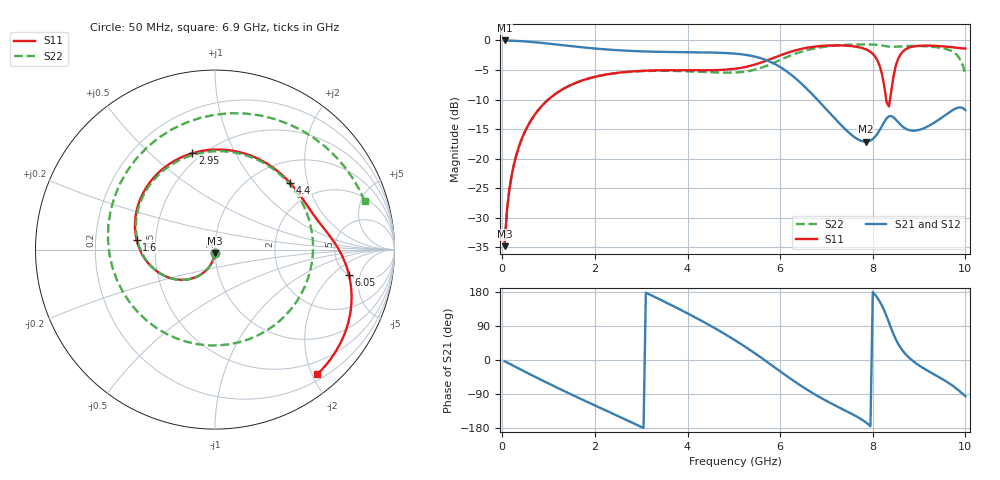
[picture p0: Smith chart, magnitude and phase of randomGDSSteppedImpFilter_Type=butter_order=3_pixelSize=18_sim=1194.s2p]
! freq	dB(S11)	phase(S11)	dB(S12)	phase(S12)
!  dB(S21)	phase(S21)	dB(S22)	phase(S22)
!S-par simulation data
#  GHz  S  DB  R 50
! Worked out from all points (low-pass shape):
!   200 points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, 50 MHz to 10 GHz, reference 50 ohm
!   highest |S21| = -0.01 dB at 50 MHz (marker M1); lowest = -17.1 dB at 7.85 GHz (marker M2)
!   |S21| within 3 dB of the highest: start of sweep to 5.581 GHz
!   lowest |S11| = -34.8 dB at 50 MHz (marker M3), VSWR 1.04, Z = 49.9 - j1.82 ohm
!   |S11| at or under -10 dB: start of sweep to 993.9 MHz; 8.291 GHz to 8.372 GHz (81.33 MHz wide, 0.976 % of centre)
!   |S22| runs from -34.8 to -0.7 dB; largest |S21 - S12| = 0
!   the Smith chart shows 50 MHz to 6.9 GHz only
!   S11 on the Smith chart (normalised r, x): 50 MHz: 1.00, -0.04; 1.6 GHz: 0.39, +0.05; 2.95 GHz: 0.45, +0.69; 4.4 GHz: 1.44, +1.56; 6.05 GHz: 5.01, -3.36; 6.9 GHz: 0.29, -2.08
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0.05  -34.78 -93.2  -0.01 -3.2  -0.01 -3.2  -34.78 -93.1
0.2  -22.91 -103.1  -0.04 -12.8  -0.04 -12.8  -22.91 -103.0
0.45  -16.10 -119.1  -0.15 -28.5  -0.15 -28.5  -16.10 -118.9
1.6  -7.13 172.8  -1.06 -97.2  -1.06 -97.2  -7.13 171.5
1.75  -6.70 164.6  -1.18 -105.8  -1.18 -105.8  -6.71 162.6
2.95  -5.17 103.3  -1.83 -173.7  -1.83 -173.7  -5.21 88.4
3.4  -5.05 82.4  -1.93 159.9  -1.93 159.9  -5.13 57.0
4.4  -5.04 41.7  -2.03 96.9  -2.03 96.9  -5.35 -27.3
5.05  -4.76 21.1  -2.25 50.3  -2.25 50.3  -5.42 -100.2
5.6  -3.71 5.5  -3.05 5.3  -3.05 5.3  -4.60 -177.6
6.05  -2.39 -10.8  -4.74 -34.2  -4.74 -34.2  -3.13 116.6
6.35  -1.64 -24.1  -6.53 -59.9  -6.53 -59.9  -2.19 77.1
6.7  -1.09 -40.8  -9.16 -87.2  -9.16 -87.2  -1.42 37.6
6.9  -0.93 -50.6  -10.82 -101.3  -10.82 -101.3  -1.14 18.1
7.85  -1.50 -107.0  -17.13 -164.6  -17.13 -164.6  -0.68 -53.6
8.15  -4.31 -152.9  -15.15 154.5  -15.15 154.5  -0.79 -72.5
8.35  -11.15 75.9  -12.82 98.9  -12.82 98.9  -1.06 -83.4
8.5  -4.20 -18.5  -13.39 53.9  -13.39 53.9  -1.06 -90.4
8.85  -1.08 -77.2  -15.25 -1.0  -15.25 -1.0  -0.93 -110.1
9.65  -1.10 -124.7  -12.17 -61.5  -12.17 -61.5  -1.63 -171.0
9.85  -1.27 -134.0  -11.35 -79.7  -11.35 -79.7  -2.77 159.4
10  -1.38 -141.1  -11.79 -95.5  -11.79 -95.5  -5.71 121.8
